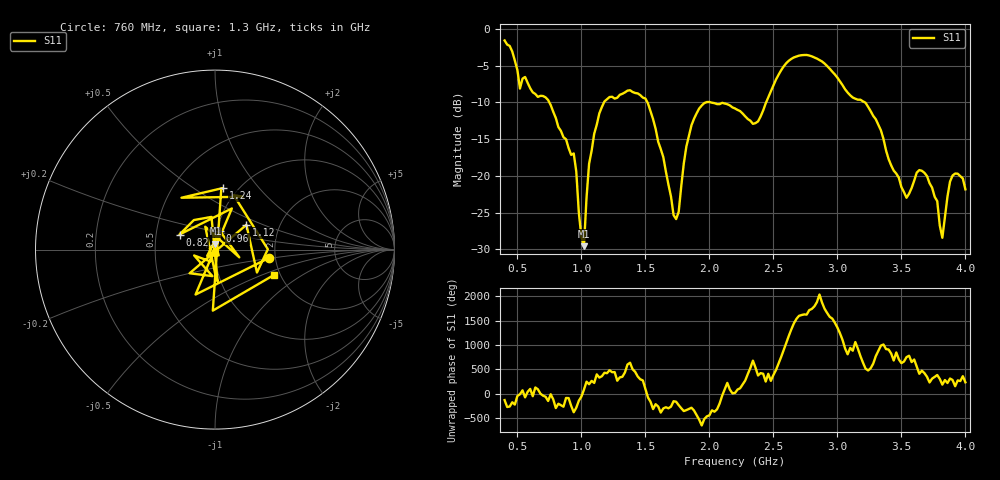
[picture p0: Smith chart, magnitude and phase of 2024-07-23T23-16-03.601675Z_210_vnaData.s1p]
!Created with skrf (http://scikit-rf.org).
# Hz S RI R 50.0
!freq ReS11 ImS11
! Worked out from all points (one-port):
!   181 points, 400 MHz to 4 GHz, reference 50 ohm
!   lowest |S11| = -29.6 dB at 1.02 GHz (marker M1), VSWR 1.07, Z = 50.1 + j3.32 ohm
!   |S11| at or under -10 dB: 1.516 GHz to 1.973 GHz (456.7 MHz wide, 26.2 % of centre); 2.012 GHz to 2.443 GHz (431.3 MHz wide, 19.4 % of centre); 3.215 GHz to end of sweep (the widest 3 of 4)
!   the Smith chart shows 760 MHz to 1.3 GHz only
!   S11 on the Smith chart (normalised r, x): 760 MHz: 1.84, -0.19; 820 MHz: 0.66, +0.12; 960 MHz: 1.03, +0.22; 1.12 GHz: 1.36, +0.39; 1.24 GHz: 0.85, +0.66; 1.3 GHz: 1.84, -0.60
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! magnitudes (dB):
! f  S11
! 400 MHz  -1.6
! 520 MHz  -8.1
! 760 MHz  -10.4
! 820 MHz  -13.4
! 860 MHz  -14.7
! 960 MHz  -19.4
! 980 MHz  -25.0
! 1.02 GHz  -29.6
! 1.06 GHz  -18.4
! 1.12 GHz  -13.0
! 1.24 GHz  -9.2
! 1.3 GHz  -9.0
! 1.52 GHz  -10.1
! 1.72 GHz  -25.3
! 1.76 GHz  -24.9
! 1.82 GHz  -16.0
! 1.92 GHz  -10.8
! 2.2 GHz  -10.8
! 2.38 GHz  -12.6
! 2.66 GHz  -3.9
! 3.1 GHz  -9.0
! 3.3 GHz  -12.3
! 3.56 GHz  -22.4
! 3.7 GHz  -20.0
! 3.78 GHz  -23.4
! 3.82 GHz  -28.4
! 3.9 GHz  -20.0
! 4 GHz  -21.8
